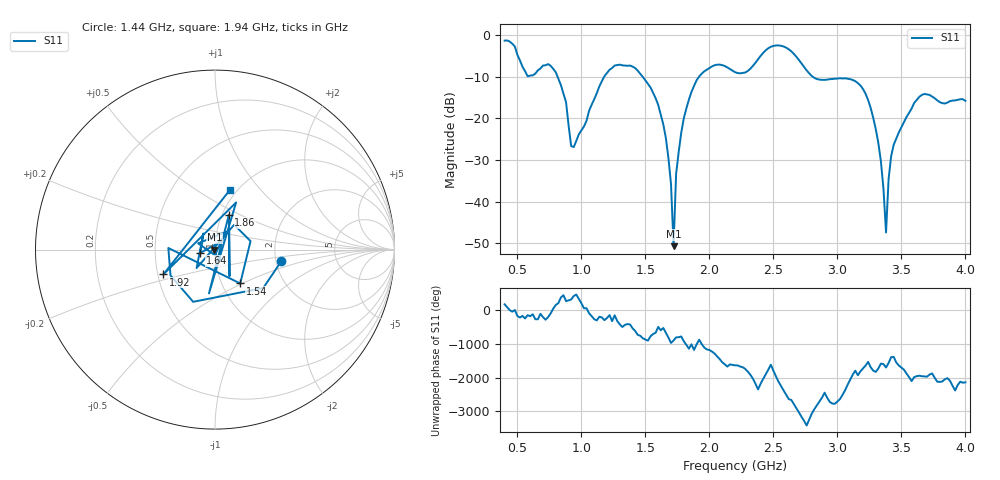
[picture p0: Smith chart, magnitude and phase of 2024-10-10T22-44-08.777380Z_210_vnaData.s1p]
! Created with skrf (http://scikit-rf.org).
# Hz S RI R 50.0
!freq ReS11 ImS11
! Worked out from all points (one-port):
!   181 points, 400 MHz to 4 GHz, reference 50 ohm
!   lowest |S11| = -50.7 dB at 1.72 GHz (marker M1), VSWR 1.01, Z = 49.7 - j0.0161 ohm
!   |S11| at or under -10 dB: 813.9 MHz to 1.177 GHz (363.4 MHz wide, 36.5 % of centre); 1.479 GHz to 1.918 GHz (439 MHz wide, 25.8 % of centre); 2.809 GHz to end of sweep
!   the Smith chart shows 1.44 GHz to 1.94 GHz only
!   S11 on the Smith chart (normalised r, x): 1.44 GHz: 2.14, -0.32; 1.54 GHz: 1.22, -0.49; 1.64 GHz: 0.85, -0.03; 1.86 GHz: 1.08, +0.44; 1.92 GHz: 0.54, -0.16; 1.94 GHz: 0.93, +0.71
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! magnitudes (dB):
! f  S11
! 400 MHz  -1.3
! 580 MHz  -9.9
! 760 MHz  -7.4
! 860 MHz  -14.1
! 940 MHz  -26.9
! 1.18 GHz  -9.8
! 1.3 GHz  -7.1
! 1.44 GHz  -8.5
! 1.54 GHz  -12.6
! 1.64 GHz  -21.5
! 1.7 GHz  -35.8
! 1.72 GHz  -50.7
! 1.74 GHz  -33.3
! 1.76 GHz  -28.1
! 1.86 GHz  -13.6
! 1.92 GHz  -9.9
! 1.94 GHz  -9.2
! 2.2 GHz  -8.9
! 2.66 GHz  -4.5
! 3.1 GHz  -10.6
! 3.28 GHz  -19.9
! 3.34 GHz  -30.4
! 3.38 GHz  -47.4
! 3.4 GHz  -34.6
! 3.42 GHz  -29.1
! 3.56 GHz  -18.7
! 3.68 GHz  -14.1
! 4 GHz  -15.8
